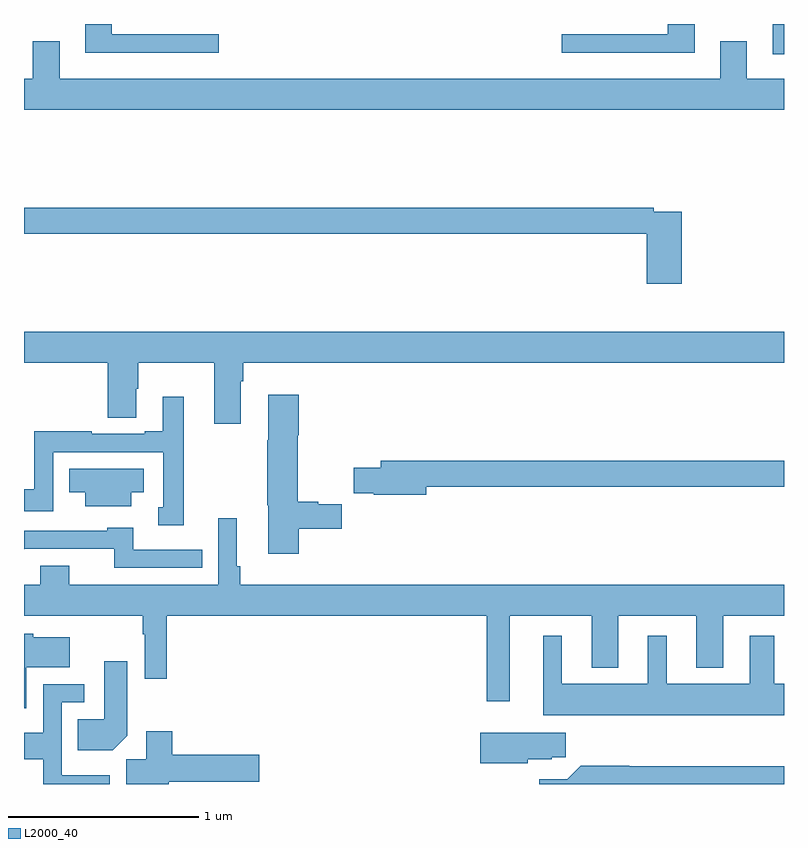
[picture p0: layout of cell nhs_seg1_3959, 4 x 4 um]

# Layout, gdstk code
import gdstk
lib = gdstk.Library(unit=1e-6, precision=1e-09)
def R(c, l, rs):  # rectangles x0, y0, x1, y1
    for r in rs: c.add(gdstk.rectangle(r[:2], r[2:], *l))
def P(c, l, *ps):  # polygons
    for p in ps: c.add(gdstk.Polygon(p, *l))
L2000_40 = (2000, 40)

nhs_seg1_3959 = lib.new_cell('nhs_seg1_3959')
R(nhs_seg1_3959, L2000_40, [(330.941,536.04,331,536.199)])
P(nhs_seg1_3959, L2000_40, [(328.024,536.145),(327.463,536.145),(327.463,536.199),(327.323,536.199),(327.323,536.048),(328.024,536.048)],
  [(330.529,536.199),(330.389,536.199),(330.389,536.145),(329.829,536.145),(329.829,536.048),(330.529,536.048)],
  [(331,535.912),(330.805,535.912),(330.805,536.107),(330.665,536.107),(330.665,535.912),(327.187,535.912),(327.187,536.107),(327.047,536.107),(327.047,535.912),(327,535.912),(327,535.748),(331,535.748)],
  [(330.461,535.212),(330.314,535.212),(330.314,535.232),(327,535.232),(327,535.096),(330.278,535.096),(330.278,534.831),(330.461,534.831)],
  [(328.141,534.32),(328.154,534.32),(328.154,534.416),(331,534.416),(331,534.58),(327,534.58),(327,534.416),(327.44,534.416),(327.44,534.127),(327.592,534.127),(327.592,534.278),(327.6,534.278),(327.6,534.416),(328.001,534.416),(328.001,534.096),(328.141,534.096)],
  [(328.445,533.542),(328.673,533.542),(328.673,533.672),(328.548,533.672),(328.548,533.684),(328.44,533.684),(328.44,534.034),(328.445,534.034),(328.445,534.247),(328.286,534.247),(328.286,534.008),(328.279,534.008),(328.279,533.667),(328.286,533.667),(328.286,533.412),(328.445,533.412)],
  [(327.841,534.238),(327.731,534.238),(327.731,534.055),(327.635,534.055),(327.635,534.042),(327.356,534.042),(327.356,534.055),(327.055,534.055),(327.055,533.75),(327,533.75),(327,533.634),(327.153,533.634),(327.153,533.946),(327.732,533.946),(327.732,533.655),(327.707,533.655),(327.707,533.561),(327.841,533.561)],
  [(329.116,533.764),(331,533.764),(331,533.9),(328.877,533.9),(328.877,533.864),(328.735,533.864),(328.735,533.73),(328.84,533.73),(328.84,533.722),(329.116,533.722)],
  [(327.565,533.735),(327.631,533.735),(327.631,533.857),(327.238,533.857),(327.238,533.735),(327.323,533.735),(327.323,533.66),(327.565,533.66)],
  [(329.557,533.084),(329.987,533.084),(329.987,532.811),(330.127,532.811),(330.127,533.084),(330.539,533.084),(330.539,532.811),(330.679,532.811),(330.679,533.084),(331,533.084),(331,533.248),(328.139,533.248),(328.139,533.344),(328.12,533.344),(328.12,533.599),(328.023,533.599),(328.023,533.248),(327.238,533.248),(327.238,533.347),(327.086,533.347),(327.086,533.248),(327,533.248),(327,533.084),(327.624,533.084),(327.624,532.988),(327.636,532.988),(327.636,532.752),(327.752,532.752),(327.752,533.084),(329.436,533.084),(329.436,532.635),(329.557,532.635)],
  [(327.938,533.433),(327.574,533.433),(327.574,533.548),(327.438,533.548),(327.438,533.532),(327,533.532),(327,533.435),(327.002,533.435),(327.002,533.436),(327.475,533.436),(327.475,533.337),(327.938,533.337)],
  [(327.012,532.814),(327.241,532.814),(327.241,532.972),(327.048,532.972),(327.048,532.99),(327,532.99),(327,532.598),(327.012,532.598)],
  [(331,532.726),(330.949,532.726),(330.949,532.978),(330.821,532.978),(330.821,532.726),(330.382,532.726),(330.382,532.978),(330.284,532.978),(330.284,532.726),(329.83,532.726),(329.83,532.978),(329.732,532.978),(329.732,532.562),(331,532.562)],
  [(327.544,532.454),(327.544,532.846),(327.422,532.846),(327.422,532.54),(327.283,532.54),(327.283,532.376),(327.466,532.376)],
  [(327.451,532.246),(327.198,532.246),(327.198,532.629),(327.316,532.629),(327.316,532.725),(327.102,532.725),(327.102,532.468),(327,532.468),(327,532.328),(327.1,532.328),(327.1,532.199),(327.451,532.199)],
  [(327.762,532.21),(328.237,532.21),(328.237,532.352),(327.779,532.352),(327.779,532.477),(327.644,532.477),(327.644,532.328),(327.539,532.328),(327.539,532.199),(327.762,532.199)],
  [(329.652,532.328),(329.778,532.328),(329.778,532.339),(329.851,532.339),(329.851,532.468),(329.402,532.468),(329.402,532.307),(329.652,532.307)],
  [(331,532.292),(330.185,532.292),(330.185,532.295),(329.93,532.295),(329.859,532.224),(329.711,532.224),(329.711,532.199),(331,532.199)])

lib.write_gds('nhs_seg1_3959.gds')
